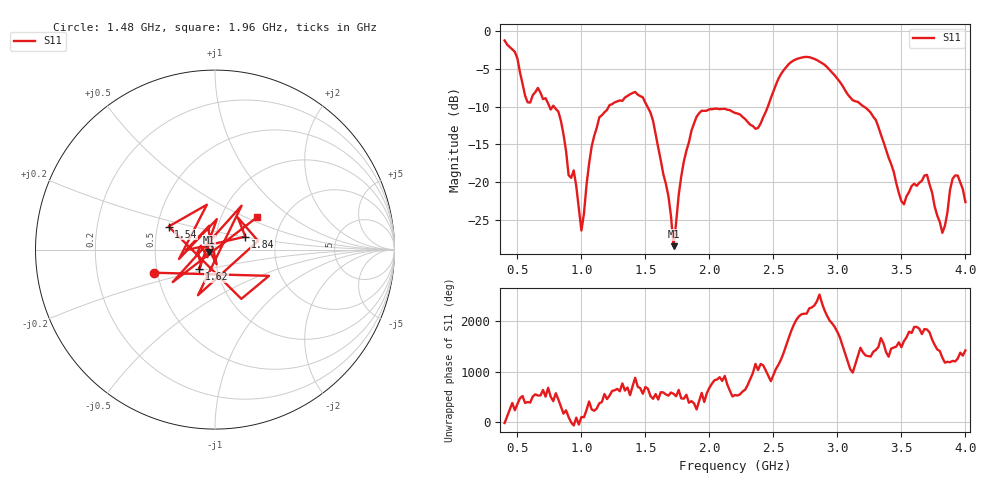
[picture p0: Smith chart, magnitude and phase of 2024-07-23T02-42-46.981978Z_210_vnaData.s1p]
!Created with skrf (http://scikit-rf.org).
# Hz S RI R 50.0
!freq ReS11 ImS11
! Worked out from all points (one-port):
!   181 points, 400 MHz to 4 GHz, reference 50 ohm
!   lowest |S11| = -28.4 dB at 1.72 GHz (marker M1), VSWR 1.08, Z = 46.5 - j1.17 ohm
!   |S11| at or under -10 dB: 785.3 MHz to 1.214 GHz (428.5 MHz wide, 42.9 % of centre); 1.516 GHz to 2.457 GHz (941.1 MHz wide, 47.4 % of centre); 3.205 GHz to end of sweep (the widest 3 of 4)
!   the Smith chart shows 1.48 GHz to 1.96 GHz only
!   S11 on the Smith chart (normalised r, x): 1.48 GHz: 0.48, -0.14; 1.54 GHz: 0.57, +0.16; 1.62 GHz: 0.82, -0.18; 1.84 GHz: 1.39, +0.21; 1.96 GHz: 1.47, +0.58
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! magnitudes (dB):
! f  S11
! 400 MHz  -1.3
! 580 MHz  -9.4
! 660 MHz  -7.5
! 860 MHz  -13.7
! 900 MHz  -19.1
! 940 MHz  -18.4
! 1 GHz  -26.4
! 1.08 GHz  -15.3
! 1.14 GHz  -11.4
! 1.3 GHz  -9.2
! 1.48 GHz  -8.8
! 1.54 GHz  -10.8
! 1.62 GHz  -17.1
! 1.72 GHz  -28.4
! 1.76 GHz  -21.7
! 1.84 GHz  -14.7
! 1.96 GHz  -10.6
! 2.2 GHz  -10.8
! 2.38 GHz  -12.8
! 2.66 GHz  -3.9
! 3.1 GHz  -8.8
! 3.3 GHz  -11.8
! 3.5 GHz  -22.5
! 3.56 GHz  -21.3
! 3.7 GHz  -19.0
! 3.82 GHz  -26.7
! 3.9 GHz  -19.5
! 4 GHz  -22.6
